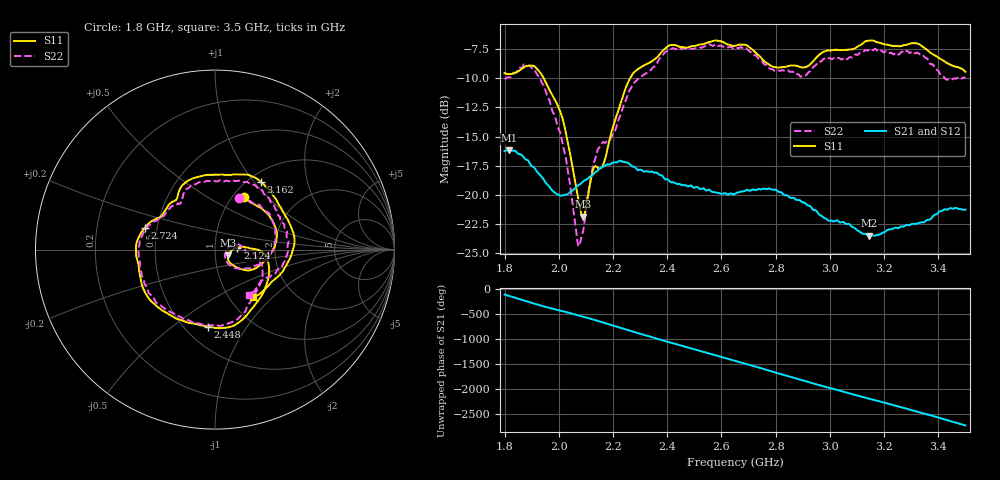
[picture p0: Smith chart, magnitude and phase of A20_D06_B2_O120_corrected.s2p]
! Created with skrf 1.9.0 (http://scikit-rf.org).
# Hz S RI R 50.0
!freq ReS11 ImS11 ReS21 ImS21 ReS12 ImS12 ReS22 ImS22
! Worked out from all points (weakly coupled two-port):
!   1601 points, 1.8 GHz to 3.5 GHz, reference 50 ohm
!   highest |S21| = -16.16 dB at 1.816 GHz (marker M1); lowest = -23.5 dB at 3.144 GHz (marker M2)
!   lowest |S11| = -21.8 dB at 2.089 GHz (marker M3), VSWR 1.18, Z = 57.9 - j3.69 ohm
!   |S11| at or under -10 dB: 1.944 GHz to 2.263 GHz (318.6 MHz wide, 15.1 % of centre)
!   |S22| runs from -24.4 to -7.1 dB; largest |S21 - S12| = 0.0026
!   S11 on the Smith chart (normalised r, x): 1.8 GHz: 1.12, +0.74; 2.124 GHz: 1.29, +0.02; 2.448 GHz: 0.64, -0.68; 2.724 GHz: 0.43, +0.13; 3.162 GHz: 1.14, +1.09; 3.5 GHz: 1.28, -0.76
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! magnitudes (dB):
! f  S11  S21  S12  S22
! 1.8 GHz  -9.6  -16.2  -16.2  -10.0
! 1.816 GHz  -9.6  -16.2  -16.2  -9.9
! 1.88 GHz  -9.0  -17.0  -17.0  -8.9
! 1.942 GHz  -9.9  -18.6  -18.6  -10.6
! 2.014 GHz  -13.4  -20.0  -20.0  -15.6
! 2.068 GHz  -19.9  -19.2  -19.3  -23.8
! 2.084 GHz  -21.6  -19.0  -18.9  -23.6
! 2.089 GHz  -21.8  -18.9  -18.9  -23.1
! 2.124 GHz  -18.0  -18.3  -18.3  -17.7
! 2.166 GHz  -17.3  -17.5  -17.5  -15.5
! 2.265 GHz  -9.9  -17.4  -17.4  -10.9
! 2.367 GHz  -8.1  -18.2  -18.1  -8.5
! 2.448 GHz  -7.3  -19.1  -19.1  -7.5
! 2.65 GHz  -7.2  -19.9  -19.9  -7.4
! 2.724 GHz  -7.8  -19.6  -19.5  -8.0
! 2.798 GHz  -9.0  -19.5  -19.5  -9.4
! 2.934 GHz  -8.7  -21.1  -21.1  -9.2
! 3.144 GHz  -6.8  -23.5  -23.4  -7.5
! 3.162 GHz  -6.8  -23.5  -23.4  -7.6
! 3.217 GHz  -7.2  -22.9  -22.9  -7.8
! 3.324 GHz  -7.0  -22.4  -22.4  -7.8
! 3.5 GHz  -9.4  -21.3  -21.2  -10.0
